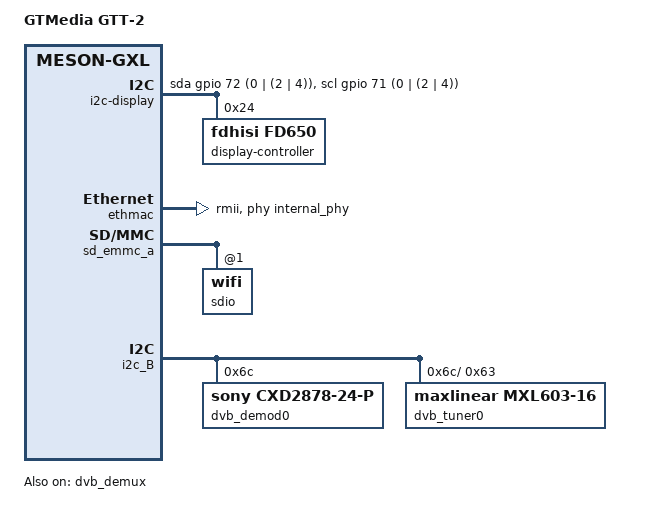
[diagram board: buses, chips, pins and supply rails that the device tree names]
// SPDX-License-Identifier: (GPL-2.0+ OR MIT)
/*
 * Author: Marek Czerski <ma.czerski@gmail.com>
 */

/dts-v1/;

#include "meson-gxl-s905d.dtsi"
#include "meson-gx-p23x-q20x.dtsi"

/ {
	compatible = "amlogic,gtt-2", "amlogic,s905d", "amlogic,meson-gxl";
	model = "GTMedia GTT-2";

    i2c-display {
        compatible = "i2c-gpio";
        sda-gpios = <&gpio 72 (0 | (2 | 4))>;
        scl-gpios = <&gpio 71 (0 | (2 | 4))>;
        i2c-gpio,delay-us = <5>;
        #address-cells = <1>;
        #size-cells = <0>;

        display-controller@24 {
            compatible = "fdhisi,fd650";
            reg = <0x24>;

            tm16xx,digits = [03 02 01 00];
            tm16xx,segment-mapping = [00 06 04 02 01 07 05];

            #address-cells = <2>;
            #size-cells = <0>;

            led@2,3 {
                reg = <2 3>;
                function = "colon";
            };

        };
    };

    soc {
        demux: demux { 
            compatible = "amlogic, dmx"; 
 
            interrupts = <GIC_SPI 23 IRQ_TYPE_EDGE_RISING>,
                         <GIC_SPI 5  IRQ_TYPE_EDGE_RISING>,
                         <GIC_SPI 53 IRQ_TYPE_EDGE_RISING>,
                         <GIC_SPI 19 IRQ_TYPE_EDGE_RISING>,
                         <GIC_SPI 25 IRQ_TYPE_EDGE_RISING>;
            interrupt-names = "demux0_irq", "demux1_irq", "demux2_irq", "dvr0_irq", "dvr1_irq"; 
        };
    };

    dvb_demux: dvb-demux {
        compatible = "amlogic,meson-gxbb-demux";
        reg = <0x0 0xc1105800 0x0 0x400>,
              <0x0 0xc1108c40 0x0 0x10>,
              <0x0 0xc1108c50 0x0 0x10>;
        reg-names = "stb", "asyncfifo0", "asyncfifo1";

        status = "okay";
        ts0 = "parallel";
        ts0_control = <0x0>;
        ts0_invert = <0x0>;
        pinctrl-names = "p_ts0", "s_ts0";
        pinctrl-0 = <&dvb_p_ts0_pins>;
        pinctrl-1 = <&dvb_s_ts0_pins>;
        dmx = <&demux>;

        clocks = <&clkc CLKID_DEMUX
                  &clkc CLKID_ASYNC_FIFO
                  &clkc CLKID_AHB_ARB0>;
        clock-names = "demux", "asyncfifo", "ahbarb0";

        resets = <&reset RESET_DEMUX>,
                 <&reset RESET_DEMUX_DES>,
                 <&reset RESET_DEMUX_RESET_0>,
                 <&reset RESET_DEMUX_RESET_1>,
                 <&reset RESET_DEMUX_RESET_2>,
                 <&reset RESET_PERIPHS_ASYNC_0>,
                 <&reset RESET_PERIPHS_ASYNC_1>;
        reset-names = "demux_rst", "des_rst", "demux0_rst", "demux1_rst", "demux2_rst", "async0_rst", "async1_rst";
    };

    dvb-fe {
        compatible = "amlogic,dvb-bridge";

        demux = <&dvb_demux>;

        frontend@0 {
            //demod-i2c-bus = <&i2c_B>;
            //demod-i2c-addr = <0x6c>;
            //demod-module = "cxd2878";
            //demod-id = "cxd2878-24-p";
            //tuner-i2c-bus = <&i2c_B>;
            //tuner-i2c-addr = <0x63>;
            //tuner-module = "mxl603";
            //tuner-id = "mxl603-16";
            demod-dev = <&dvb_demod0>;
            tuner-dev = <&dvb_tuner0>;
        };
    };
};

/* P231 has only internal PHY port */
&ethmac {
	phy-mode = "rmii";
	phy-handle = <&internal_phy>;
};

&sd_emmc_a {
	sdio: wifi@1 {
		reg = <1>;
	};
};

&pinctrl_periphs {
    dvb_p_ts0_pins: dvb_p_ts0_pins {
        tsin_a {
            groups = "tsin_a_d0",
                     "tsin_a_dp",
                     "tsin_a_clk",
                     "tsin_a_sop",
                     "tsin_a_d_valid";
            function = "tsin_a";
        };
    };
    dvb_s_ts0_pins: dvb_s_ts0_pins {
        tsin_a {
            groups = "tsin_a_d0",
                     "tsin_a_clk",
                     "tsin_a_sop",
                     "tsin_a_d_valid";
            function = "tsin_a";
        };
    };
};

&i2c_B {
    status = "okay";
    pinctrl-0 = <&i2c_b_pins>;
    pinctrl-names = "default";

    dvb_demod0: dvb-demod@6c {
        compatible = "sony,cxd2878-24-p";
        reg = <0x6c>;

        i2c-gate {
            #address-cells = <1>;
            #size-cells = <0>;

            dvb_tuner0: dvb-tuner@63 {
                compatible = "maxlinear,mxl603-16";
                reg = <0x63>;
            };
        };
    };
};
